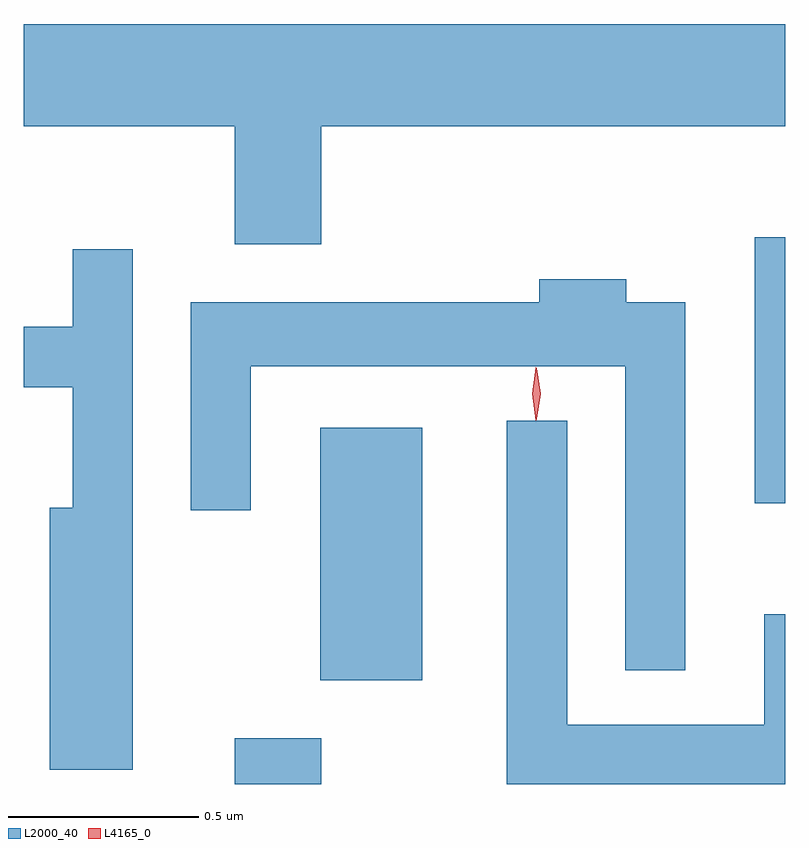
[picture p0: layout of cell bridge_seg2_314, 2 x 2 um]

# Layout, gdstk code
import gdstk
lib = gdstk.Library(unit=1e-6, precision=1e-09)
def R(c, l, rs):  # rectangles x0, y0, x1, y1
    for r in rs: c.add(gdstk.rectangle(r[:2], r[2:], *l))
def P(c, l, *ps):  # polygons
    for p in ps: c.add(gdstk.Polygon(p, *l))
L2000_40 = (2000, 40)
L4165_0 = (4165, 0)

bridge_seg2_314 = lib.new_cell('bridge_seg2_314')
R(bridge_seg2_314, L2000_40, [(411.141,1079.889,411.369,1080.009), (411.366,1080.161,411.634,1080.824), (412.506,1080.626,412.587,1081.324)])
P(bridge_seg2_314, L2000_40, [(411.369,1081.616),(412.587,1081.616),(412.587,1081.884),(410.587,1081.884),(410.587,1081.616),(411.141,1081.616),(411.141,1081.306),(411.369,1081.306)],
  [(410.874,1081.293),(410.716,1081.293),(410.716,1081.089),(410.587,1081.089),(410.587,1080.931),(410.716,1080.931),(410.716,1080.614),(410.656,1080.614),(410.656,1079.926),(410.874,1079.926)],
  [(412.324,1081.154),(412.169,1081.154),(412.169,1081.214),(411.941,1081.214),(411.941,1081.154),(411.026,1081.154),(411.026,1080.608),(411.184,1080.608),(411.184,1080.986),(412.166,1080.986),(412.166,1080.188),(412.324,1080.188)],
  [(412.587,1080.334),(412.531,1080.334),(412.531,1080.044),(412.014,1080.044),(412.014,1080.843),(411.856,1080.843),(411.856,1079.889),(412.587,1079.889)])
P(bridge_seg2_314, L4165_0, [(411.932,1080.843),(411.932,1080.844),(411.922,1080.913),(411.932,1080.982),(411.932,1080.983),(411.933,1080.982),(411.942,1080.913),(411.933,1080.844)],
  [(411.934,1080.847),(411.933,1080.848),(411.924,1080.914),(411.933,1080.98),(411.934,1080.98),(411.934,1080.98),(411.944,1080.914),(411.934,1080.848)])

lib.write_gds('bridge_seg2_314.gds')
